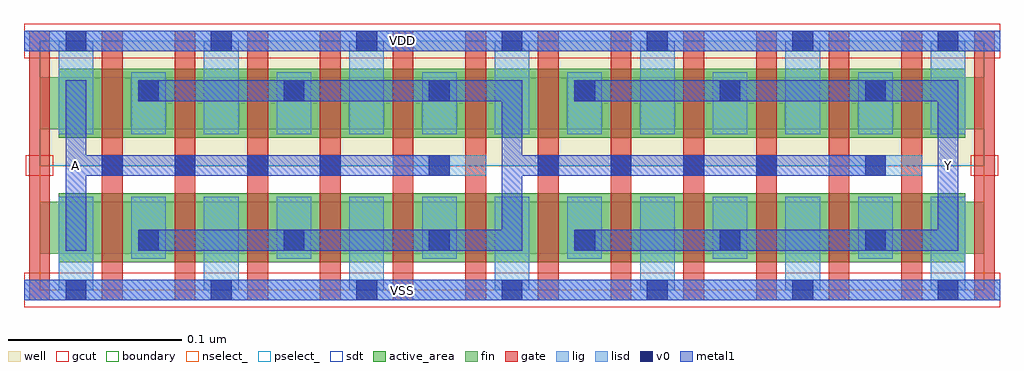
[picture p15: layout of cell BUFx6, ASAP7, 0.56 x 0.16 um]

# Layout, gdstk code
import gdstk
lib = gdstk.Library(unit=1e-6, precision=2.5e-10)
def R(c, l, rs):  # rectangles x0, y0, x1, y1
    for r in rs: c.add(gdstk.rectangle(r[:2], r[2:], *l))
def A(c, l, x, y, w, h, nx, ny, dx, dy):  # array of equal rectangles
    R(c, l, [(x+i*dx, y+j*dy, x+i*dx+w, y+j*dy+h) for i in range(nx) for j in range(ny)])
def P(c, l, *ps):  # polygons
    for p in ps: c.add(gdstk.Polygon(p, *l))
well = (1, 0)
fin = (2, 0)
gate = (7, 0)
gcut = (10, 0)
active_area = (11, 0)
nselect_ = (12, 0)
pselect_ = (13, 0)
lig = (16, 0)
lisd = (17, 0)
v0 = (18, 0)
metal1 = (19, 0)
sdt = (88, 0)
boundary = (100, 0)

bufx6 = lib.new_cell('BUFx6')
R(bufx6, well, [(0,0.072,0.546,0.144)])
R(bufx6, fin, [(0,0.021,0.546,0.051), (0,0.093,0.546,0.123)])
A(bufx6, gate, -0.006, -0.006, 0.012, 0.156, 14, 1, 0.042, 0)
R(bufx6, gcut, [(-0.009,-0.01,0.555,0.01), (-0.008,0.066,0.008,0.078), (0.538,0.066,0.554,0.078), (-0.009,0.134,0.555,0.154)])
R(bufx6, active_area, [(0.011,0.016,0.535,0.056), (0.011,0.088,0.535,0.128)])
R(bufx6, nselect_, [(0,0,0.546,0.072)])
R(bufx6, pselect_, [(0,0.072,0.546,0.144)])
A(bufx6, lig, 0.036, 0.066, 0.012, 0.012, 4, 1, 0.042, 0)
A(bufx6, lig, 0.288, 0.066, 0.012, 0.012, 4, 1, 0.042, 0)
R(bufx6, lig, [(-0.009,-0.006,0.555,0.006), (0.204,0.066,0.258,0.078), (0.456,0.066,0.51,0.078), (-0.009,0.138,0.555,0.15)])
A(bufx6, lisd, 0.011, 0, 0.02, 0.054, 7, 2, 0.084, 0.09)
A(bufx6, lisd, 0.053, 0.018, 0.02, 0.036, 6, 2, 0.084, 0.072)
A(bufx6, v0, 0.015, -0.006, 0.012, 0.012, 7, 2, 0.084, 0.144)
A(bufx6, v0, 0.057, 0.0227, 0.012, 0.012, 6, 2, 0.084, 0.0865)
A(bufx6, v0, 0.036, 0.066, 0.012, 0.012, 4, 1, 0.042, 0)
A(bufx6, v0, 0.288, 0.066, 0.012, 0.012, 4, 1, 0.042, 0)
R(bufx6, v0, [(0.225,0.066,0.237,0.078), (0.477,0.066,0.489,0.078)])
R(bufx6, metal1, [(-0.009,-0.006,0.555,0.006), (-0.009,0.138,0.555,0.15)])
P(bufx6, metal1, [(0.309,0.0348),(0.309,0.0227),(0.531,0.0227),(0.531,0.1212),(0.309,0.1212),(0.309,0.1092),(0.519,0.1092),(0.519,0.0348)],
  [(0.057,0.1092),(0.267,0.1092),(0.267,0.0348),(0.057,0.0348),(0.057,0.0227),(0.279,0.0227),(0.279,0.066),(0.489,0.066),(0.489,0.078),(0.279,0.078),(0.279,0.1212),(0.057,0.1212)],
  [(0.015,0.0227),(0.027,0.0227),(0.027,0.066),(0.237,0.066),(0.237,0.078),(0.027,0.078),(0.027,0.1212),(0.015,0.1212)])
A(bufx6, sdt, 0.011, 0.021, 0.02, 0.03, 13, 2, 0.042, 0.072)
R(bufx6, boundary, [(0,0,0.546,0.144)])
bufx6.add(gdstk.Label('Y', (0.525,0.072), layer=19, texttype=251))
bufx6.add(gdstk.Label('A', (0.021,0.072), layer=19, texttype=251))
bufx6.add(gdstk.Label('VSS', (0.21,0), layer=19, texttype=251))
bufx6.add(gdstk.Label('VDD', (0.21,0.144), layer=19, texttype=251))
bufx6.add(gdstk.Label('Y', (0.525,0.072), layer=19, texttype=251))

lib.write_gds('BUFx6.gds')
